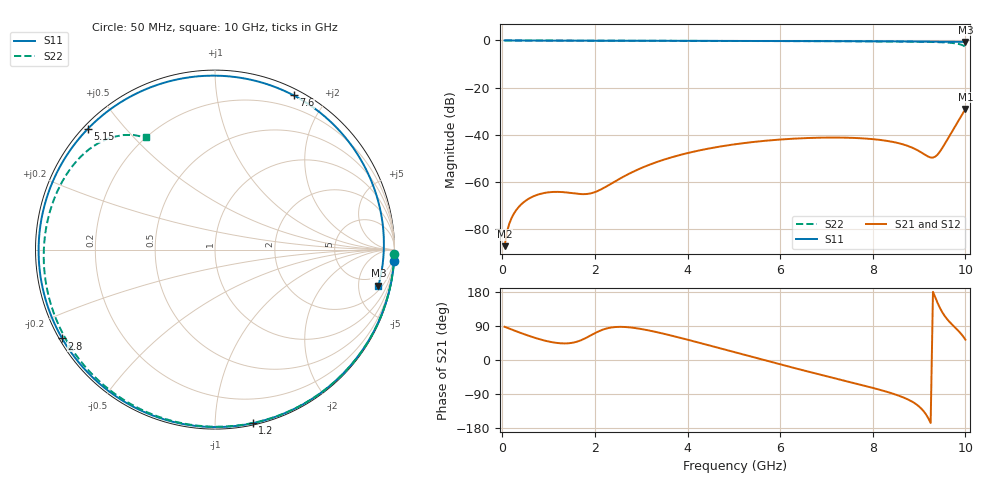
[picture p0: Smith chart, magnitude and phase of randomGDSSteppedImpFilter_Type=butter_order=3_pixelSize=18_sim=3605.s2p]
! freq	dB(S11)	phase(S11)	dB(S12)	phase(S12)
!  dB(S21)	phase(S21)	dB(S22)	phase(S22)
!S-par simulation data
#  GHz  S  DB  R 50
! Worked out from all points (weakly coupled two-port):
!   200 points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, 50 MHz to 10 GHz, reference 50 ohm
!   highest |S21| = -29.06 dB at 10 GHz (marker M1); lowest = -87.3 dB at 50 MHz (marker M2)
!   lowest |S11| = -0.6 dB at 10 GHz (marker M3), VSWR 28.52, Z = 135 - j415 ohm
!   |S11| at or under -10 dB: nowhere
!   |S22| runs from -2.7 to 0.0 dB; largest |S21 - S12| = 0
!   S11 on the Smith chart (normalised r, x): 50 MHz: 0, -32; 1.2 GHz: 0.01, -1.24; 2.8 GHz: 0.01, -0.27; 5.15 GHz: 0.01, +0.40; 7.6 GHz: 0.07, +1.63; 10 GHz: 2.70, -8.30
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0.05  -0.00 -3.5  -87.31 87.6  -87.31 87.6  -0.00 -1.3
0.1  -0.01 -7.0  -81.31 85.3  -81.31 85.3  -0.00 -2.7
0.3  -0.03 -20.9  -72.01 75.9  -72.01 75.9  -0.01 -7.9
0.5  -0.05 -34.4  -68.08 66.9  -68.08 66.9  -0.02 -13.1
0.85  -0.07 -57.0  -64.97 53.3  -64.97 53.3  -0.03 -22.3
1.2  -0.09 -77.7  -64.26 44.7  -64.26 44.7  -0.04 -31.3
1.75  -0.11 -106.3  -65.22 54.8  -65.22 54.8  -0.06 -45.1
2.05  -0.12 -120.0  -63.97 73.9  -63.97 73.9  -0.07 -52.5
2.8  -0.13 -149.8  -55.96 85.4  -55.96 85.4  -0.09 -70.4
3.4  -0.14 -170.5  -51.17 71.7  -51.17 71.7  -0.11 -84.0
4.2  -0.17 164.5  -46.90 47.2  -46.90 47.2  -0.14 -101.4
5.05  -0.20 139.4  -43.99 19.4  -43.99 19.4  -0.17 -119.0
5.15  -0.20 136.5  -43.73 16.2  -43.73 16.2  -0.18 -121.0
5.95  -0.24 113.1  -42.12 -9.9  -42.12 -9.9  -0.23 -136.8
6.7  -0.27 90.7  -41.34 -33.5  -41.34 -33.5  -0.28 -151.4
7.6  -0.31 63.0  -41.37 -61.1  -41.37 -61.1  -0.35 -169.0
8.35  -0.38 39.4  -42.76 -85.6  -42.76 -85.6  -0.44 175.7
8.8  -0.43 25.0  -45.08 -106.6  -45.08 -106.6  -0.51 165.8
9.3  -0.49 9.1  -49.70 179.9  -49.70 179.9  -0.66 153.2
9.45  -0.51 4.4  -47.16 137.5  -47.16 137.5  -0.74 148.7
9.7  -0.55 -3.3  -39.12 95.1  -39.12 95.1  -1.03 139.5
10  -0.61 -12.5  -29.06 53.7  -29.06 53.7  -2.69 121.6
